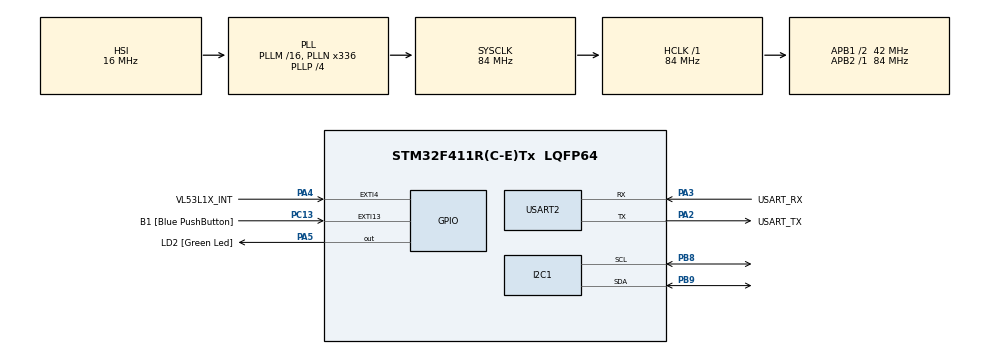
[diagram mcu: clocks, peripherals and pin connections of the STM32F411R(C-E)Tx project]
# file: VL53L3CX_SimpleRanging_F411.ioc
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Mcu.Family=STM32F4
Mcu.Name=STM32F411R(C-E)Tx
Mcu.Package=LQFP64
NVIC.EXTI4_IRQn=true\:0\:0\:false\:false\:true\:true\:true\:true
NVIC.PriorityGroup=NVIC_PRIORITYGROUP_0
PA13.GPIO_Label=TMS
PA13.Mode=Serial_Wire
PA13.Signal=SYS_JTMS-SWDIO
PA14.GPIO_Label=TCK
PA14.Mode=Serial_Wire
PA14.Signal=SYS_JTCK-SWCLK
PA2.GPIO_Label=USART_TX
PA2.Mode=Asynchronous
PA2.Signal=USART2_TX
PA3.GPIO_Label=USART_RX
PA3.Mode=Asynchronous
PA3.Signal=USART2_RX
PA4.GPIO_Label=VL53L1X_INT
PA4.GPIO_ModeDefaultEXTI=GPIO_MODE_IT_FALLING
PA4.GPIO_PuPd=GPIO_PULLUP
PA4.Signal=GPXTI4
PA5.GPIO_Label=LD2 [Green Led]
PA5.Signal=GPIO_Output
PB3.GPIO_Label=SWO
PB3.Signal=SYS_JTDO-SWO
PB8.Mode=I2C
PB8.Signal=I2C1_SCL
PB9.Mode=I2C
PB9.Signal=I2C1_SDA
PC13-ANTI_TAMP.GPIO_Label=B1 [Blue PushButton]
PC13-ANTI_TAMP.GPIO_ModeDefaultEXTI=GPIO_MODE_IT_FALLING
PC13-ANTI_TAMP.Signal=GPXTI13
PC14-OSC32_IN.Mode=LSE-External-Oscillator
PC14-OSC32_IN.Signal=RCC_OSC32_IN
PC15-OSC32_OUT.Mode=LSE-External-Oscillator
PC15-OSC32_OUT.Signal=RCC_OSC32_OUT
PH0\ -\ OSC_IN.Mode=HSE-External-Clock-Source
PH0\ -\ OSC_IN.Signal=RCC_OSC_IN
PH1\ -\ OSC_OUT.Mode=HSE-External-Clock-Source
PH1\ -\ OSC_OUT.Signal=RCC_OSC_OUT
ProjectManager.HeapSize=0x200
ProjectManager.StackSize=0x400
ProjectManager.TargetToolchain=STM32CubeIDE
RCC.48MHZClocksFreq_Value=84000000
RCC.AHBFreq_Value=84000000
RCC.APB1CLKDivider=RCC_HCLK_DIV2
RCC.APB1Freq_Value=42000000
RCC.APB1TimFreq_Value=84000000
RCC.APB2Freq_Value=84000000
RCC.APB2TimFreq_Value=84000000
RCC.CortexFreq_Value=84000000
RCC.FLatency-AdvancedSettings=FLASH_LATENCY_2
RCC.HCLKFreq_Value=84000000
RCC.HSE_VALUE=8000000
RCC.HSI_VALUE=16000000
RCC.PLLN=336
RCC.PLLP=RCC_PLLP_DIV4
RCC.PWR_Regulator_Voltage_Scale=PWR_REGULATOR_VOLTAGE_SCALE2
RCC.SYSCLKFreq_VALUE=84000000
RCC.SYSCLKSource=RCC_SYSCLKSOURCE_PLLCLK
RCC.VCOOutputFreq_Value=336000000
USART2.VirtualMode=VM_ASYNC
board=NUCLEO-F411RE

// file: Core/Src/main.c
/* USER CODE BEGIN Header */
/**
  ******************************************************************************
  * @file           : main.c
  * @brief          : Main program body
  ******************************************************************************
  * @attention
  *
  * Copyright (c) 2022 STMicroelectronics.
  * All rights reserved.
  *
  * This software is licensed under terms that can be found in the LICENSE file
  * in the root directory of this software component.
  * If no LICENSE file comes with this software, it is provided AS-IS.
  *
  ******************************************************************************
  */
/* USER CODE END Header */
#include "main.h"

/* USER CODE BEGIN Includes */
#include "stm32xxx_hal.h"
#include "vl53lx_api.h"
#include "53L3A2.h"
#include "stdio.h"
/* USER CODE END Includes */

 I2C_HandleTypeDef hi2c1;

UART_HandleTypeDef huart2;

/* USER CODE BEGIN PV */
VL53LX_Dev_t                   dev;
VL53LX_DEV                     Dev = &dev;
int status;
volatile int IntCount;
#define isInterrupt 1
/* USER CODE END PV */

void SystemClock_Config(void);
static void MX_GPIO_Init(void);
static void MX_USART2_UART_Init(void);
static void MX_I2C1_Init(void);
/* USER CODE BEGIN PFP */
void RangingLoop(void);
/* USER CODE END PFP */

/* USER CODE BEGIN 0 */
#ifdef __GNUC__
#define PUTCHAR_PROTOTYPE int __io_putchar(int ch)
#else
#define PUTCHAR_PROTOTYPE int fputc(int ch, FILE *f)
#endif

PUTCHAR_PROTOTYPE
{
  HAL_UART_Transmit(&huart2, (uint8_t *)&ch, 1, HAL_MAX_DELAY);
  return ch;
}

void HAL_GPIO_EXTI_Callback(uint16_t GPIO_Pin)
{
  if (GPIO_Pin==VL53L1X_INT_Pin)
  {
    IntCount++;
  }
}
/* USER CODE END 0 */

int main(void)
{
  /* USER CODE BEGIN 1 */
  uint8_t byteData;
  uint16_t wordData;
  uint8_t ToFSensor = 1; // 0=Left, 1=Center(default), 2=Right
  /* USER CODE END 1 */

  /* MCU Configuration--------------------------------------------------------*/

  /* Reset of all peripherals, Initializes the Flash interface and the Systick. */
  HAL_Init();

  /* Configure the system clock */
  SystemClock_Config();

  /* Initialize all configured peripherals */
  MX_GPIO_Init();
  MX_USART2_UART_Init();
  MX_I2C1_Init();
  /* USER CODE BEGIN 2 */
  XNUCLEO53L3A2_Init();
  /**Configure the Systick interrupt time
  */
  HAL_SYSTICK_Config(HAL_RCC_GetHCLKFreq()/1000);

  /**Configure the Systick
  */
  HAL_SYSTICK_CLKSourceConfig(SYSTICK_CLKSOURCE_HCLK);

  /* SysTick_IRQn interrupt configuration */
  HAL_NVIC_SetPriority(SysTick_IRQn, 0, 0);

  printf("VL53L1X Examples...\n");

  Dev->I2cHandle = &hi2c1;
  Dev->I2cDevAddr = 0x52;

  /* Allow to select the sensor to be used, multi-sensor is not managed in this example.
  Only when use use the Left ToF in interrupt mode,  solder the U7 on the X-Nucleo-53L3A2 board
  Only when use the Right ToF in interrupt mode, solder the U7 on the X-Nucleo-53L3A2 board
  See "Solder drop configurations" in the X-Nucleo-53L3A2 User Manual for more details */
  ToFSensor = 1; // Select ToFSensor: 0=Left, 1=Center, 2=Right
  status = XNUCLEO53L3A2_ResetId(ToFSensor, 0); // Reset ToF sensor
  HAL_Delay(2);
  status = XNUCLEO53L3A2_ResetId(ToFSensor, 1); // Reset ToF sensor
  HAL_Delay(2);

  VL53LX_RdByte(Dev, 0x010F, &byteData);
  printf("VL53LX Model_ID: %02X\n\r", byteData);
  VL53LX_RdByte(Dev, 0x0110, &byteData);
  printf("VL53LX Module_Type: %02X\n\r", byteData);
  VL53LX_RdWord(Dev, 0x010F, &wordData);
  printf("VL53LX: %02X\n\r", wordData);
  RangingLoop();

  /* USER CODE END 2 */

  /* Infinite loop */
  while (1)
  {

  }
}

void SystemClock_Config(void)
{
  RCC_OscInitTypeDef RCC_OscInitStruct = {0};
  RCC_ClkInitTypeDef RCC_ClkInitStruct = {0};

  /** Configure the main internal regulator output voltage
  */
  __HAL_RCC_PWR_CLK_ENABLE();
  __HAL_PWR_VOLTAGESCALING_CONFIG(PWR_REGULATOR_VOLTAGE_SCALE2);

  /** Initializes the RCC Oscillators according to the specified parameters
  * in the RCC_OscInitTypeDef structure.
  */
  RCC_OscInitStruct.OscillatorType = RCC_OSCILLATORTYPE_HSI;
  RCC_OscInitStruct.HSIState = RCC_HSI_ON;
  RCC_OscInitStruct.HSICalibrationValue = RCC_HSICALIBRATION_DEFAULT;
  RCC_OscInitStruct.PLL.PLLState = RCC_PLL_ON;
  RCC_OscInitStruct.PLL.PLLSource = RCC_PLLSOURCE_HSI;
  RCC_OscInitStruct.PLL.PLLM = 16;
  RCC_OscInitStruct.PLL.PLLN = 336;
  RCC_OscInitStruct.PLL.PLLP = RCC_PLLP_DIV4;
  RCC_OscInitStruct.PLL.PLLQ = 4;
  if (HAL_RCC_OscConfig(&RCC_OscInitStruct) != HAL_OK)
  {
    Error_Handler();
  }

  /** Initializes the CPU, AHB and APB buses clocks
  */
  RCC_ClkInitStruct.ClockType = RCC_CLOCKTYPE_HCLK|RCC_CLOCKTYPE_SYSCLK
                              |RCC_CLOCKTYPE_PCLK1|RCC_CLOCKTYPE_PCLK2;
  RCC_ClkInitStruct.SYSCLKSource = RCC_SYSCLKSOURCE_PLLCLK;
  RCC_ClkInitStruct.AHBCLKDivider = RCC_SYSCLK_DIV1;
  RCC_ClkInitStruct.APB1CLKDivider = RCC_HCLK_DIV2;
  RCC_ClkInitStruct.APB2CLKDivider = RCC_HCLK_DIV1;

  if (HAL_RCC_ClockConfig(&RCC_ClkInitStruct, FLASH_LATENCY_2) != HAL_OK)
  {
    Error_Handler();
  }
}

static void MX_I2C1_Init(void)
{

  hi2c1.Instance = I2C1;
  hi2c1.Init.ClockSpeed = 100000;
  hi2c1.Init.DutyCycle = I2C_DUTYCYCLE_2;
  hi2c1.Init.OwnAddress1 = 0;
  hi2c1.Init.AddressingMode = I2C_ADDRESSINGMODE_7BIT;
  hi2c1.Init.DualAddressMode = I2C_DUALADDRESS_DISABLE;
  hi2c1.Init.OwnAddress2 = 0;
  hi2c1.Init.GeneralCallMode = I2C_GENERALCALL_DISABLE;
  hi2c1.Init.NoStretchMode = I2C_NOSTRETCH_DISABLE;
  if (HAL_I2C_Init(&hi2c1) != HAL_OK)
  {
    Error_Handler();
  }

}

static void MX_USART2_UART_Init(void)
{

  huart2.Instance = USART2;
  huart2.Init.BaudRate = 115200;
  huart2.Init.WordLength = UART_WORDLENGTH_8B;
  huart2.Init.StopBits = UART_STOPBITS_1;
  huart2.Init.Parity = UART_PARITY_NONE;
  huart2.Init.Mode = UART_MODE_TX_RX;
  huart2.Init.HwFlowCtl = UART_HWCONTROL_NONE;
  huart2.Init.OverSampling = UART_OVERSAMPLING_16;
  if (HAL_UART_Init(&huart2) != HAL_OK)
  {
    Error_Handler();
  }

}

static void MX_GPIO_Init(void)
{
  GPIO_InitTypeDef GPIO_InitStruct = {0};

  /* GPIO Ports Clock Enable */
  __HAL_RCC_GPIOC_CLK_ENABLE();
  __HAL_RCC_GPIOH_CLK_ENABLE();
  __HAL_RCC_GPIOA_CLK_ENABLE();
  __HAL_RCC_GPIOB_CLK_ENABLE();

  /*Configure GPIO pin Output Level */
  HAL_GPIO_WritePin(LD2_GPIO_Port, LD2_Pin, GPIO_PIN_RESET);

  /*Configure GPIO pin : B1_Pin */
  GPIO_InitStruct.Pin = B1_Pin;
  GPIO_InitStruct.Mode = GPIO_MODE_IT_FALLING;
  GPIO_InitStruct.Pull = GPIO_NOPULL;
  HAL_GPIO_Init(B1_GPIO_Port, &GPIO_InitStruct);

  /*Configure GPIO pin : VL53L1X_INT_Pin */
  GPIO_InitStruct.Pin = VL53L1X_INT_Pin;
  GPIO_InitStruct.Mode = GPIO_MODE_IT_FALLING;
  GPIO_InitStruct.Pull = GPIO_PULLUP;
  HAL_GPIO_Init(VL53L1X_INT_GPIO_Port, &GPIO_InitStruct);

  /*Configure GPIO pin : LD2_Pin */
  GPIO_InitStruct.Pin = LD2_Pin;
  GPIO_InitStruct.Mode = GPIO_MODE_OUTPUT_PP;
  GPIO_InitStruct.Pull = GPIO_NOPULL;
  GPIO_InitStruct.Speed = GPIO_SPEED_FREQ_LOW;
  HAL_GPIO_Init(LD2_GPIO_Port, &GPIO_InitStruct);

  /* EXTI interrupt init*/
  HAL_NVIC_SetPriority(EXTI4_IRQn, 0, 0);
  HAL_NVIC_EnableIRQ(EXTI4_IRQn);

}

/* USER CODE BEGIN 4 */

/* ranging and display loop */
void RangingLoop(void)
{
  VL53LX_MultiRangingData_t MultiRangingData;
  VL53LX_MultiRangingData_t *pMultiRangingData = &MultiRangingData;
  uint8_t NewDataReady=0;
  int no_of_object_found=0,j;
  printf("Ranging loop starts\n");

  status = VL53LX_WaitDeviceBooted(Dev);
  status = VL53LX_DataInit(Dev);
  status = VL53LX_StartMeasurement(Dev);

  if(status){
    printf("VL53LX_StartMeasurement failed: error = %d \n", status);
    while(1);
  }

  __NOP();

  if (isInterrupt){
    do // HW interrupt mode
    {
      __WFI();
      if(IntCount !=0 ){
        IntCount=0;
        status = VL53LX_GetMultiRangingData(Dev, pMultiRangingData);
        no_of_object_found=pMultiRangingData->NumberOfObjectsFound;
        printf("Count=%5d, ", pMultiRangingData->StreamCount);
        printf("#Objs=%1d ", no_of_object_found);
        for(j=0;j<no_of_object_found;j++){
          if(j!=0)printf("\n                     ");
          printf("status=%d, D=%5dmm, Signal=%2.2f Mcps, Ambient=%2.2f Mcps",
                 pMultiRangingData->RangeData[j].RangeStatus,
                 pMultiRangingData->RangeData[j].RangeMilliMeter,
                 pMultiRangingData->RangeData[j].SignalRateRtnMegaCps/65536.0,
                 pMultiRangingData->RangeData[j].AmbientRateRtnMegaCps/65536.0);
        }
        printf ("\n");
        if (status==0){
          status = VL53LX_ClearInterruptAndStartMeasurement(Dev);
        }

      }
    }
    while(1);
  }
  else{
    do{ // polling mode
      status = VL53LX_GetMeasurementDataReady(Dev, &NewDataReady);
      HAL_Delay(1); // 1 ms polling period, could be longer.
      if((!status)&&(NewDataReady!=0)){
        status = VL53LX_GetMultiRangingData(Dev, pMultiRangingData);
        no_of_object_found=pMultiRangingData->NumberOfObjectsFound;
        printf("Count=%5d, ", pMultiRangingData->StreamCount);
        printf("#Objs=%1d ", no_of_object_found);
        for(j=0;j<no_of_object_found;j++){
          if(j!=0)printf("\n                     ");
          printf("status=%d, D=%5dmm, Signal=%2.2f Mcps, Ambient=%2.2f Mcps",
                 pMultiRangingData->RangeData[j].RangeStatus,
                 pMultiRangingData->RangeData[j].RangeMilliMeter,
                 pMultiRangingData->RangeData[j].SignalRateRtnMegaCps/65536.0,
                 pMultiRangingData->RangeData[j].AmbientRateRtnMegaCps/65536.0);
        }
        printf ("\n");
        if (status==0){
          status = VL53LX_ClearInterruptAndStartMeasurement(Dev);
        }
      }
    }
    while (1);
  }
}
/* USER CODE END 4 */

void Error_Handler(void)
{
  __disable_irq();
  while (1)
  {
  }
}
